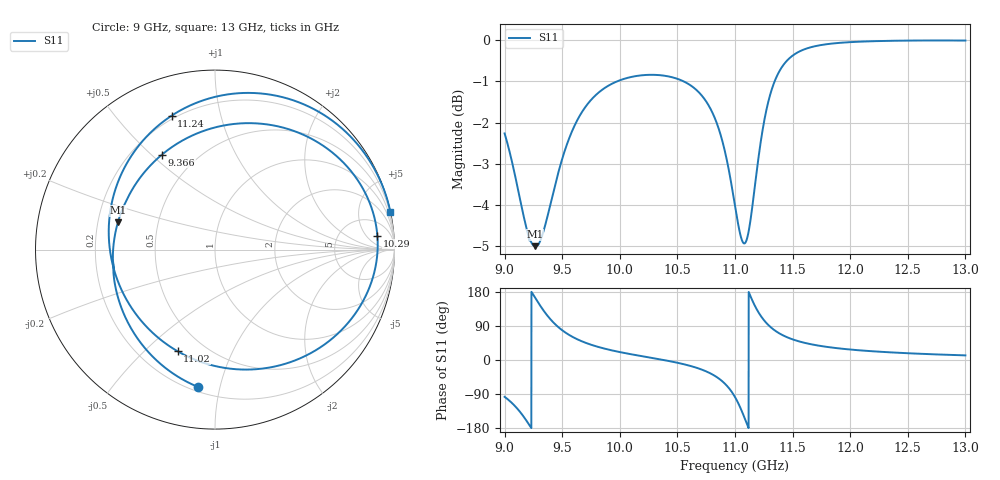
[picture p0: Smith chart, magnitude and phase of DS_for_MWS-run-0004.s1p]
! TOUCHSTONE file generated by CST DESIGN STUDIO
! Date and time: Tue Feb  4 14:30:04 2025
! Project name: C:\Work\MatlabApps\UnitCellOptimizationMatlab\CST\unitcell.cst
! Tree item: Tasks\Sweep1\SPara1\S-Parameters
! Header version: 2024
! Port assignment regex: !\s*Touchstone port\s*([0-9]+)\s*=\s*(CST MWS port|CST DES external port|CST DES block port)\s*(.+)\s* \(\"(.*)\"\)(\s*mode\s*([0-9]+))?.*
! Touchstone port assignment:
! Touchstone port 1 = CST DES external port 1 ("")
# GHz S MA R 50
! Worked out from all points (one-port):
!   4001 points, 9 GHz to 13 GHz, reference 50 ohm
!   lowest |S11| = -5.0 dB at 9.265 GHz (marker M1), VSWR 3.57, Z = 14.3 + j6.37 ohm
!   |S11| at or under -10 dB: nowhere
!   S11 on the Smith chart (normalised r, x): 9 GHz: 0.23, -0.86; 9.366 GHz: 0.32, +0.54; 10.29 GHz: 12, +10; 11.02 GHz: 0.36, -0.64; 11.24 GHz: 0.18, +0.71; 13 GHz: 0.03, +9.37
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9  0.7706 -97.2
9.08  0.6958 -118.4
9.161  0.6151 -147.7
9.265  0.562 164.2
9.366  0.6061 119.2
9.43  0.6598 97.1
9.5  0.7176 78.5
9.603  0.7852 58.9
9.714  0.8344 44.2
10  0.8941 20.9
10.289  0.9079 4.9
10.5  0.8978 -7.3
10.678  0.8668 -21.7
10.806  0.8155 -38.5
10.905  0.7403 -60.3
11  0.6293 -97.8
11.022  0.6035 -110.2
11.082  0.5664 -152.0
11.129  0.5975 172.2
11.19  0.6957 133.0
11.244  0.7845 107.9
11.338  0.887 79.7
11.414  0.9308 65.4
11.5  0.958 54.4
11.699  0.9839 39.3
12  0.9949 27.6
12.5  0.9992 17.9
13  0.9993 12.2
